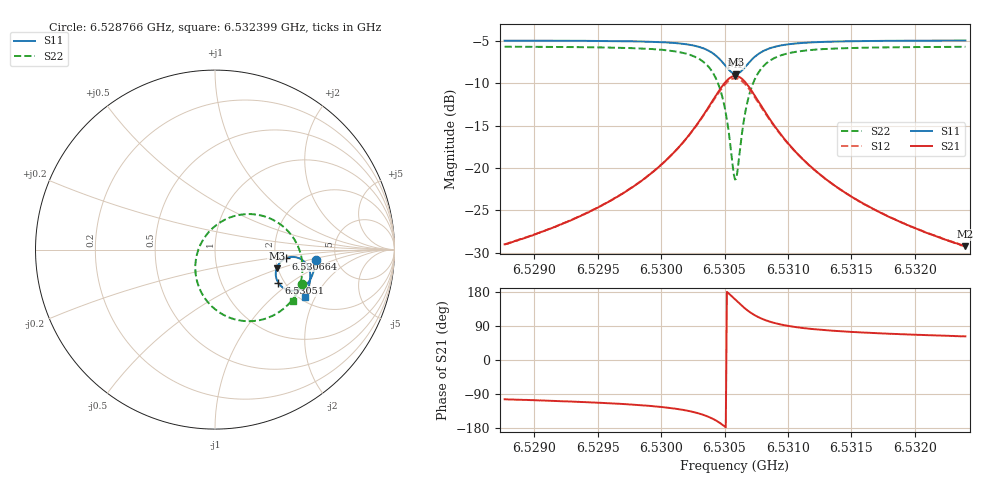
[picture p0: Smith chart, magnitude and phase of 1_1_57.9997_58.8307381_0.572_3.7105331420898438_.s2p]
#  HZ  S  RI  R  50.00
! Rohde & Schwarz Vector Network Analyzer
! Rohde-Schwarz,ZNB20-2Port,1311601062101988,3.16
! Created: UTC 3/21/2024, 12:50:15 AM
! freq[Hz]  re:S11  im:S11  re:S21  im:S21  re:S12  im:S12  re:S22  im:S22
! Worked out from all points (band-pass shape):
!   401 points, 6.528766 GHz to 6.532399 GHz, reference 50 ohm
!   highest |S21| = -9.13 dB at 6.530582 GHz (marker M1); lowest = -29.2 dB at 6.532399 GHz (marker M2)
!   |S21| within 3 dB of the highest: 6.530403 GHz to 6.530766 GHz (363.3 kHz wide, 0.00556 % of centre)
!   lowest |S11| = -8.9 dB at 6.530592 GHz (marker M3), VSWR 2.12, Z = 98.7 - j23.4 ohm
!   |S11| at or under -10 dB: nowhere
!   |S22| runs from -21.4 to -5.7 dB; largest |S21 - S12| = 0.015
!   S11 on the Smith chart (normalised r, x): 6.528766 GHz: 3.49, -0.57; 6.53051 GHz: 1.86, -0.82; 6.530664 GHz: 2.27, -0.27; 6.532399 GHz: 2.11, -1.65
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6.5287661e9  0.5614 -0.0561  -0.00832 -0.0344  -0.00911 -0.0341  0.4834 -0.1899
6.5293746e9  0.5522 -0.1092  -0.0187 -0.0492  -0.0198 -0.0487  0.4508 -0.2518
6.5296924e9  0.5424 -0.141  -0.0307 -0.0631  -0.0325 -0.0624  0.4191 -0.2938
6.5299831e9  0.5248 -0.1759  -0.0557 -0.0849  -0.0583 -0.0832  0.3625 -0.3443
6.530201e9  0.4947 -0.2083  -0.1031 -0.109  -0.1066 -0.1051  0.2672 -0.3888
6.5303554e9  0.4448 -0.2284  -0.1833 -0.1167  -0.1861 -0.1085  0.1202 -0.3911
6.5304462e9  0.393 -0.22  -0.265 -0.0841  -0.2635 -0.072  -0.0149 -0.3188
6.5304826e9  0.3691 -0.2042  -0.3006 -0.0498  -0.2954 -0.0371  -0.0678 -0.2535
6.5305098e9  0.3534 -0.1855  -0.3228 -0.0129  -0.3147 -0.00106  -0.0969 -0.1871
6.5305643e9  0.3385 -0.1326  -0.3369 0.0842  -0.3236 0.091  -0.1001 -0.0244
6.5305825e9  0.341 -0.1129  -0.3286 0.1188  -0.3149 0.1229  -0.08 0.0302
6.5305915e9  0.3439 -0.1033  -0.3221 0.1352  -0.3082 0.1382  -0.0658 0.0556
6.5306097e9  0.3523 -0.0856  -0.3041 0.1657  -0.2908 0.1663  -0.0309 0.1022
6.5306642e9  0.3931 -0.0494  -0.2276 0.2255  -0.2183 0.2215  0.1061 0.1864
6.5307005e9  0.4234 -0.0412  -0.1738 0.2383  -0.1675 0.2336  0.1975 0.198
6.5307369e9  0.4502 -0.0425  -0.1276 0.2359  -0.1235 0.2316  0.275 0.1853
6.5308549e9  0.5028 -0.0721  -0.0386 0.1911  -0.0371 0.1894  0.4191 0.0891
6.5309911e9  0.5245 -0.1081  -0.00142 0.1424  -0.000278 0.1419  0.473 -0.00935
6.5311909e9  0.5314 -0.1465  0.0143 0.0992  0.0154 0.0989  0.4875 -0.0999
6.5314543e9  0.5284 -0.1819  0.0182 0.0687  0.0193 0.0685  0.4806 -0.1689
6.5317994e9  0.5194 -0.217  0.0182 0.048  0.0189 0.0479  0.4639 -0.224
6.5323988e9  0.4992 -0.266  0.016 0.0306  0.0166 0.0303  0.4333 -0.2855
